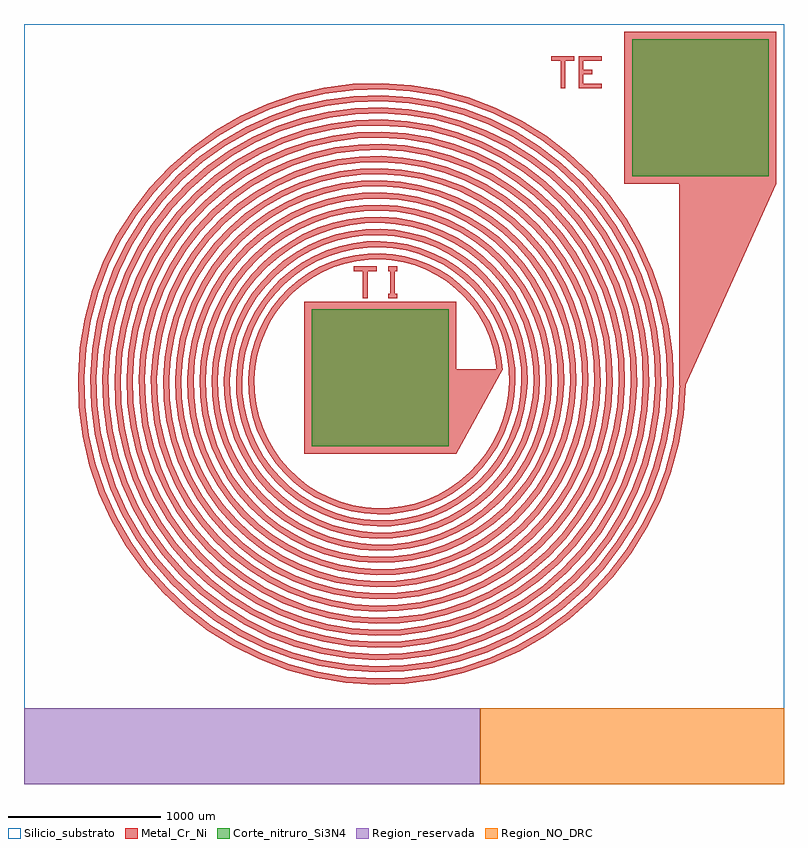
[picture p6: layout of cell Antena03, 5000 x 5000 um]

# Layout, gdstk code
from math import pi, radians
import gdstk
lib = gdstk.Library(unit=1e-6, precision=1e-06)
def R(c, l, rs):  # rectangles x0, y0, x1, y1
    for r in rs: c.add(gdstk.rectangle(r[:2], r[2:], *l))
def P(c, l, *ps):  # polygons
    for p in ps: c.add(gdstk.Polygon(p, *l))
Silicio_substrato = (1, 1)
Region_reservada = (1, 2)
Region_NO_DRC = (1, 3)
Metal_Cr_Ni = (2, 0)
Corte_nitruro_Si3N4 = (3, 0)

spiral_1_1 = lib.new_cell('Spiral$1$1')
spiral_1_1.add(gdstk.FlexPath([(800,0),(797,79),(787,157),(769,233),(744,308),(711,380),(671,449),(625,513),(573,573),(515,627),(451,676),(384,718),(312,753),(237,781),(159,802),(80,815),(0,820),(-80,817),(-160,807),(-239,788),(-316,762),(-389,729),(-460,688),(-526,641),(-587,587),(-643,527),(-692,463),(-735,393),(-771,320),(-800,243),(-821,163),(-835,82),(-840,0),(-837,-82),(-826,-164),(-807,-245),(-781,-323),(-746,-399),(-705,-471),(-656,-538),(-601,-601),(-540,-658),(-474,-709),(-402,-753),(-327,-790),(-249,-819),(-167,-841),(-84,-855),(0,-860),(84,-857),(168,-846),(251,-827),(331,-799),(408,-764),(482,-721),(551,-672),(615,-615),(673,-553),(725,-485),(771,-412),(808,-335),(839,-254),(861,-171),(875,-86),(880,0),(877,86),(866,172),(846,257),(818,339),(782,418),(738,493),(687,564),(629,629),(565,689),(496,742),(421,788),(343,827),(260,858),(175,880),(88,894),(0,900),(-88,897),(-176,885),(-262,865),(-346,836),(-427,799),(-504,755),(-577,702),(-643,643),(-704,578),(-759,507),(-806,431),(-845,350),(-877,266),(-900,179),(-914,90),(-920,0),(-917,-90),(-905,-180),(-884,-268),(-855,-354),(-817,-437),(-771,-515),(-718,-589),(-658,-658),(-591,-720),(-518,-775),(-440,-823),(-358,-864),(-272,-896),(-183,-919),(-92,-934),(0,-940),(92,-937),(184,-924),(274,-903),(362,-873),(446,-835),(526,-788),(602,-733),(672,-672),(735,-603),(792,-529),(841,-450),(882,-365),(915,-278),(939,-187),(954,-94),(960,0),(957,94),(944,188),(922,280),(892,369),(852,455),(804,538),(749,615),(686,686),(616,751),(540,809),(459,859),(373,901),(283,934),(191,959),(96,974),(0,980),(-96,977),(-192,964),(-286,941),(-377,910),(-465,870),(-549,821),(-627,764),(-700,700),(-766,629),(-825,551),(-876,468),(-919,381),(-953,289),(-978,195),(-994,98),(-1000,0),(-996,-98),(-983,-196),(-961,-291),(-928,-385),(-887,-474),(-838,-560),(-780,-640),(-714,-714),(-642,-782),(-563,-842),(-478,-894),(-388,-938),(-295,-972),(-199,-998),(-100,-1014),(0,-1020),(100,-1016),(199,-1003),(297,-980),(392,-947),(484,-905),(571,-854),(653,-795),(728,-728),(797,-654),(858,-574),(912,-487),(956,-396),(992,-301),(1018,-202),(1034,-102),(1040,0),(1036,102),(1022,203),(999,303),(965,400),(923,493),(871,582),(811,665),(742,742),(667,813),(585,875),(497,929),(404,975),(307,1011),(206,1037),(104,1054),(0,1060),(-104,1056),(-207,1042),(-309,1018),(-408,984),(-503,940),(-593,888),(-678,826),(-757,757),(-828,680),(-892,596),(-947,506),(-993,411),(-1030,312),(-1057,210),(-1074,106),(-1080,0),(-1076,-106),(-1062,-211),(-1037,-315),(-1002,-415),(-958,-512),(-904,-604),(-842,-691),(-771,-771),(-692,-844),(-607,-908),(-516,-965),(-419,-1012),(-318,-1049),(-214,-1076),(-108,-1093),(0,-1100),(108,-1096),(215,-1081),(320,-1056),(423,-1021),(521,-976),(615,-921),(703,-857),(785,-785),(859,-705),(925,-618),(982,-525),(1030,-427),(1068,-324),(1096,-218),(1113,-110),(1120,0),(1116,110),(1101,219),(1075,326),(1039,431),(993,531),(937,626),(873,716),(799,799),(718,874),(629,942),(534,1000),(434,1049),(330,1087),(222,1116),(112,1133),(0,1140),(-112,1136),(-223,1121),(-332,1095),(-438,1058),(-540,1011),(-638,954),(-729,888),(-813,813),(-890,730),(-958,640),(-1018,544),(-1067,442),(-1106,336),(-1135,226),(-1153,114),(-1160,0),(-1156,-114),(-1140,-227),(-1114,-338),(-1076,-446),(-1029,-550),(-971,-649),(-903,-741),(-827,-827),(-743,-905),(-651,-975),(-553,-1035),(-450,-1086),(-341,-1126),(-230,-1155),(-116,-1173),(0,-1180),(116,-1176),(231,-1160),(344,-1133),(453,-1095),(559,-1046),(660,-987),(754,-919),(841,-841),(921,-756),(992,-663),(1053,-563),(1104,-457),(1145,-347),(1174,-234),(1193,-117),(1200,0),(1195,118),(1179,235),(1152,349),(1113,461),(1064,569),(1004,671),(934,767),(856,856),(768,936),(674,1008),(572,1070),(465,1123),(353,1164),(238,1194),(119,1213),(0,1220),(-120,1215),(-238,1199),(-355,1171),(-469,1132),(-578,1081),(-682,1021),(-780,950),(-870,870),(-952,781),(-1025,685),(-1088,582),(-1141,473),(-1183,359),(-1214,241),(-1233,121),(-1240,0),(-1235,-122),(-1219,-242),(-1190,-361),(-1150,-476),(-1099,-587),(-1037,-693),(-965,-792),(-884,-884),(-794,-967),(-696,-1041),(-591,-1106),(-480,-1159),(-365,-1202),(-245,-1233),(-123,-1253),(0,-1260),(124,-1255),(246,-1238),(367,-1209),(484,-1169),(597,-1117),(704,-1054),(805,-981),(898,-898),(983,-806),(1058,-707),(1123,-600),(1178,-488),(1221,-370),(1253,-249),(1273,-125),(1280,0),(1275,126),(1258,250),(1228,373),(1187,492),(1134,606),(1071,715),(996,818),(912,912),(819,998),(718,1075),(610,1141),(496,1196),(376,1240),(253,1273),(127,1292),(0,1300),(-128,1295),(-254,1277),(-378,1248),(-499,1206),(-616,1152),(-726,1087),(-830,1012),(-926,926),(-1014,832),(-1091,729),(-1159,619),(-1215,503),(-1260,382),(-1292,257),(-1312,129),(-1320,0),(-1315,-130),(-1297,-258),(-1267,-384),(-1224,-507),(-1170,-625),(-1104,-738),(-1027,-843),(-940,-940),(-845,-1029),(-740,-1108),(-629,-1176),(-511,-1233),(-388,-1279),(-261,-1312),(-131,-1332),(0,-1340),(131,-1335),(262,-1317),(390,-1286),(515,-1243),(635,-1187),(749,-1120),(856,-1043),(955,-955),(1045,-857),(1125,-751),(1194,-638),(1252,-519),(1298,-394),(1331,-265),(1352,-133),(1360,0),(1355,133),(1336,266),(1305,396),(1261,522),(1205,644),(1137,760),(1058,868),(969,969),(870,1060),(763,1141),(648,1212),(526,1270),(400,1317),(269,1351),(135,1372),(0,1380),(-135,1375),(-270,1356),(-402,1324),(-530,1280),(-653,1223),(-771,1154),(-881,1074),(-983,983),(-1075,883),(-1158,774),(-1229,657),(-1289,534),(-1336,405),(-1371,273),(-1392,137),(-1400,0),(-1395,-137),(-1376,-274),(-1343,-407),(-1298,-538),(-1240,-663),(-1170,-782),(-1089,-894),(-997,-997),(-895,-1091),(-785,-1174),(-666,-1247),(-541,-1307),(-411,-1355),(-277,-1390),(-139,-1412),(0,-1420),(139,-1414),(278,-1395),(413,-1362),(545,-1317),(672,-1258),(793,-1187),(906,-1104),(1011,-1011),(1106,-908),(1191,-796),(1264,-676),(1326,-549),(1374,-417),(1410,-280),(1432,-141),(1440,0),(1434,141),(1415,281),(1382,419),(1335,553),(1275,682),(1204,804),(1120,919),(1025,1025),(921,1122),(807,1208),(685,1282),(557,1344),(423,1394),(284,1429),(143,1452),(0,1460),(-143,1454),(-285,1434),(-425,1401),(-561,1353),(-691,1293),(-815,1220),(-932,1135),(-1039,1039),(-1137,933),(-1224,818),(-1300,695),(-1363,564),(-1413,429),(-1449,288),(-1472,145),(-1480,0),(-1474,-145),(-1454,-289),(-1420,-431),(-1372,-568),(-1311,-701),(-1237,-826),(-1151,-944),(-1054,-1054),(-946,-1153),(-829,-1241),(-704,-1317),(-572,-1381),(-434,-1432),(-292,-1469),(-147,-1492),(0,-1500),(147,-1494),(293,-1474),(437,-1439),(576,-1390),(710,-1328),(838,-1253),(957,-1166),(1068,-1068),(1168,-959),(1258,-840),(1335,-714),(1400,-580),(1451,-440),(1488,-296),(1511,-149),(1520,0),(1514,149),(1493,297),(1458,442),(1409,584),(1346,719),(1270,849),(1182,970),(1082,1082),(971,1184),(851,1274),(723,1353),(587,1418),(446,1470),(300,1508),(151,1531),(0,1540),(-151,1534),(-301,1513),(-448,1477),(-591,1427),(-729,1364),(-860,1287),(-983,1197),(-1096,1096),(-1199,984),(-1291,863),(-1370,732),(-1437,595),(-1489,452),(-1528,304),(-1551,153),(-1560,0),(-1554,-153),(-1532,-305),(-1496,-454),(-1446,-599),(-1381,-738),(-1303,-871),(-1213,-995),(-1110,-1110),(-997,-1215),(-874,-1307),(-742,-1388),(-603,-1455),(-458,-1508),(-308,-1547),(-155,-1571),(0,-1580),(155,-1574),(309,-1552),(460,-1516),(607,-1464),(748,-1399),(882,-1320),(1008,-1228),(1124,-1124),(1230,-1009),(1324,-885),(1406,-751),(1474,-610),(1528,-463),(1567,-312),(1591,-157),(1600,0),(1594,157),(1572,313),(1535,466),(1483,614),(1417,757),(1337,893),(1244,1021),(1138,1138),(1022,1246),(896,1341),(761,1423),(618,1492),(469,1547),(316,1586),(159,1611),(0,1620),(-159,1613),(-317,1591),(-471,1554),(-622,1501),(-767,1434),(-904,1353),(-1033,1259),(-1153,1153),(-1261,1035),(-1357,907),(-1441,770),(-1511,626),(-1566,475),(-1606,319),(-1631,161),(-1640,0),(-1633,-161),(-1611,-320),(-1573,-477),(-1520,-630),(-1452,-776),(-1370,-915),(-1275,-1046),(-1167,-1167),(-1048,-1276),(-918,-1374),(-780,-1458),(-633,-1529),(-481,-1585),(-323,-1626),(-163,-1651),(0,-1660),(163,-1653),(324,-1631),(483,-1592),(637,-1538),(785,-1470),(926,-1386),(1059,-1290),(1181,-1181),(1292,-1060),(1391,-929),(1476,-789),(1547,-641),(1604,-487),(1645,-327),(1671,-165),(1680,0),(1673,165),(1650,328),(1611,489),(1557,645),(1487,795),(1403,938),(1305,1071),(1195,1195),(1073,1307),(940,1407),(798,1494),(649,1566),(492,1623),(331,1665),(167,1691),(0,1700),(-167,1693),(-332,1670),(-495,1630),(-652,1575),(-804,1505),(-949,1420),(-1084,1321),(-1209,1209),(-1323,1086),(-1424,951),(-1511,808),(-1584,656),(-1642,498),(-1684,335),(-1710,168),(-1720,0),(-1713,-169),(-1689,-336),(-1650,-500),(-1594,-660),(-1522,-814),(-1436,-960),(-1336,-1097),(-1223,-1223),(-1098,-1338),(-963,-1441),(-817,-1529),(-664,-1603),(-504,-1661),(-339,-1704),(-170,-1730),(0,-1740),(171,-1733),(340,-1709),(506,-1669),(668,-1612),(823,-1540),(971,-1453),(1109,-1352),(1237,-1237),(1354,-1111),(1457,-974),(1547,-827),(1621,-672),(1681,-510),(1724,-343),(1750,-172),(1760,0),(1753,173),(1729,344),(1688,512),(1631,675),(1558,833),(1470,982),(1367,1122),(1252,1252),(1124,1369),(985,1474),(836,1564),(679,1640),(516,1700),(347,1743),(174,1770),(0,1780),(-175,1773),(-348,1748),(-518,1707),(-683,1649),(-842,1575),(-993,1486),(-1135,1383),(-1266,1266),(-1385,1136),(-1490,996),(-1582,846),(-1658,687),(-1719,521),(-1763,351),(-1790,176),(-1800,0),(-1793,-177),(-1768,-352),(-1726,-524),(-1668,-691),(-1593,-851),(-1503,-1004),(-1398,-1147),(-1280,-1280),(-1149,-1400),(-1007,-1507),(-855,-1600),(-695,-1677),(-527,-1738),(-355,-1783),(-178,-1810),(0,-1820),(179,-1812),(356,-1787),(529,-1745),(698,-1686),(861,-1611),(1015,-1520),(1160,-1414),(1294,-1294),(1416,-1162),(1524,-1018),(1617,-864),(1695,-702),(1757,-533),(1802,-358),(1830,-180),(1840,0),(1832,180),(1807,359),(1764,535),(1705,706),(1628,870),(1536,1026),(1429,1173),(1308,1308),(1174,1431),(1029,1540),(874,1635),(710,1714),(539,1776),(362,1822),(182,1850),(0,1860),(-182,1852),(-363,1827),(-541,1783),(-714,1723),(-880,1646),(-1038,1553),(-1186,1445),(-1322,1322),(-1446,1187),(-1557,1040),(-1653,883),(-1732,718),(-1795,545),(-1841,366),(-1870,184),(-1880,0),(-1872,-184),(-1846,-367),(-1803,-547),(-1742,-721),(-1664,-889),(-1569,-1049),(-1460,-1198),(-1336,-1336),(-1200,-1462),(-1051,-1574),(-893,-1670),(-725,-1751),(-550,-1815),(-370,-1861),(-186,-1890),(0,-1900),(186,-1892),(371,-1866),(553,-1822),(729,-1760),(899,-1681),(1060,-1586),(1211,-1475),(1351,-1351),(1477,-1212),(1590,-1063),(1688,-902),(1769,-733),(1834,-556),(1881,-374),(1910,-188),(1920,0),(1912,188),(1886,375),(1841,558),(1778,737),(1699,908),(1603,1071),(1491,1224),(1365,1365),(1225,1493),(1074,1607),(912,1705),(740,1788),(562,1853),(378,1900),(190,1929),(0,1940),(-190,1932),(-379,1905),(-564,1860),(-744,1797),(-917,1716),(-1082,1619),(-1236,1506),(-1379,1379),(-1508,1238),(-1623,1085),(-1723,921),(-1806,748),(-1872,568),(-1920,382),(-1949,192),(-1960,0),(-1952,-192),(-1925,-383),(-1879,-570),(-1815,-752),(-1734,-927),(-1636,-1093),(-1522,-1249),(-1393,-1393),(-1251,-1524),(-1096,-1640),(-930,-1741),(-756,-1825),(-574,-1891),(-386,-1940),(-194,-1969),(0,-1980),(194,-1972),(387,-1944),(576,-1898),(760,-1834),(936,-1752),(1104,-1653),(1262,-1537),(1407,-1407),(1539,-1263),(1657,-1107),(1758,-940),(1843,-763),(1910,-579),(1959,-390),(1989,-196)], 40, ends="flush", simple_path=True, layer=2, datatype=0))  # Metal_Cr_Ni

chip_plantilla5x5mm_1 = lib.new_cell('Chip_Plantilla5x5mm$1')
R(chip_plantilla5x5mm_1, Silicio_substrato, [(0,0,5000,5000)])
R(chip_plantilla5x5mm_1, Region_reservada, [(0,0,3000,500)])
R(chip_plantilla5x5mm_1, Region_NO_DRC, [(3000,0,5000,500)])

text_3 = lib.new_cell('TEXT$3')
P(text_3, Metal_Cr_Ni, [(60,0),(60,180),(0,180),(0,210),(150,210),(150,180),(90,180),(90,0)],
  [(180,0),(180,210),(330,210),(330,180),(210,180),(210,120),(270,120),(270,90),(210,90),(210,30),(330,30),(330,0)])

text = lib.new_cell('TEXT')
P(text, Metal_Cr_Ni, [(60,0),(60,180),(0,180),(0,210),(150,210),(150,180),(90,180),(90,0)],
  [(225,0),(225,30),(240,30),(240,180),(225,180),(225,210),(285,210),(285,180),(270,180),(270,30),(285,30),(285,0)])

antena03 = lib.new_cell('Antena03')
R(antena03, Metal_Cr_Ni, [(3950,3949,4950,4949)])
P(antena03, Metal_Cr_Ni, [(4351,2621),(4312,2622),(4312,3949),(4950,3949)],
  [(1843,2172),(1843,3172),(2843,3172),(2843,2728),(3151,2728),(2844,2172)])
R(antena03, Corte_nitruro_Si3N4, [(1893,2222,2793,3122), (4000,3999,4900,4899)])
antena03.add(gdstk.Reference(spiral_1_1, (2334,2653), rotation=radians(5)))
antena03.add(gdstk.Reference(chip_plantilla5x5mm_1, (0,0)))
antena03.add(gdstk.Reference(text_3, (3470,4578)))
antena03.add(gdstk.Reference(text, (2170,3195)))

lib.write_gds('Antena03.gds')
